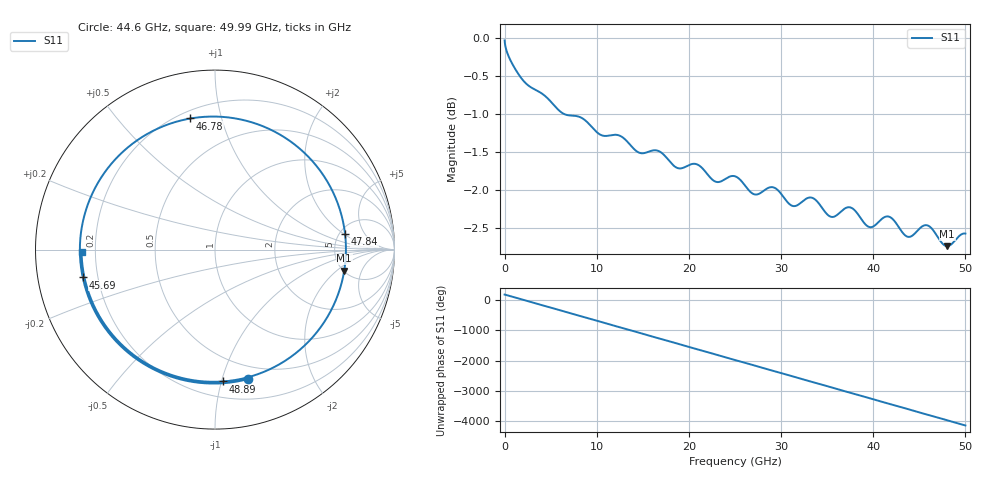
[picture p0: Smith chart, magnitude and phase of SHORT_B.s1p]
! Mesure 1 port cote sortie, SHORT ideal : ligne B : Zc=48.0 ohm, 120 ps, 0.6 dB@10GHz
! Frequency(Hz) Re(S11) Im(S11)
# Hz S RI R 50
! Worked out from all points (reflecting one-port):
!   5000 points, 10 MHz to 50 GHz, reference 50 ohm
!   lowest |S11| = -2.7 dB at 48.02 GHz (marker M1), VSWR 6.39, Z = 253 - j128 ohm
!   phase of S11 starts at 179 deg and turns -4319 deg over the sweep
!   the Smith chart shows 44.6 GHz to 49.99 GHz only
!   S11 on the Smith chart (normalised r, x): 44.6 GHz: 0.37, -1.21; 45.69 GHz: 0.14, -0.10; 46.78 GHz: 0.25, +0.80; 47.84 GHz: 5.59, +2.10; 48.89 GHz: 0.32, -1.01; 49.99 GHz: 0.15, -0.01
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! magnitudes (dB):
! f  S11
! 10 MHz  0.0
! 1.99 GHz  -0.6
! 6.26 GHz  -1.0
! 10.52 GHz  -1.3
! 12.51 GHz  -1.3
! 14.61 GHz  -1.5
! 16.84 GHz  -1.5
! 18.76 GHz  -1.7
! 20.85 GHz  -1.7
! 23.05 GHz  -1.9
! 25.01 GHz  -1.8
! 27.1 GHz  -2.1
! 29.33 GHz  -2.0
! 31.26 GHz  -2.2
! 33.35 GHz  -2.1
! 35.55 GHz  -2.4
! 37.51 GHz  -2.2
! 39.59 GHz  -2.5
! 41.83 GHz  -2.4
! 43.76 GHz  -2.6
! 44.6 GHz  -2.6
! 45.69 GHz  -2.5
! 46.78 GHz  -2.6
! 47.84 GHz  -2.7
! 48.02 GHz  -2.7
! 48.89 GHz  -2.7
! 49.99 GHz  -2.6
! 50 GHz  -2.6
